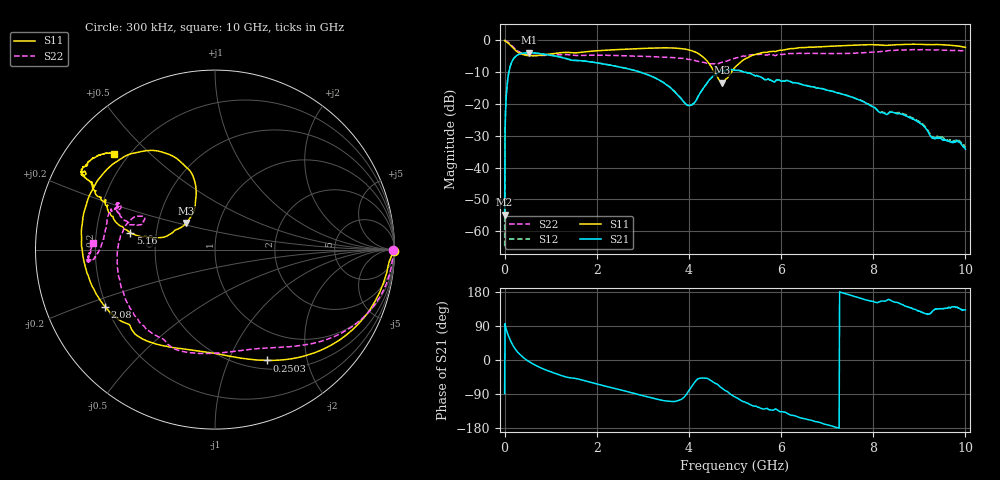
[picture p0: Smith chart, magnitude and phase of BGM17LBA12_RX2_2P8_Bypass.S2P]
!Agilent Technologies,E5071C,MY46316587,B.13.01
!Date: Fri Dec 08 10:55:44 2017
!Data & Calibration Information:
!Freq	S11:SOLT2(ON)	S21:SOLT2(ON)	S12:SOLT2(ON)	S22:SOLT2(ON)
!PortZ  Port1:50+j0  Port2:50+j0
!Above PortZ is port z conversion or system Z0 setting when saving the data.
!When reading, reference impedance value at option line is always used.
# Hz S dB R 50
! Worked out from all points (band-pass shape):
!   1001 points, 300 kHz to 10 GHz, reference 50 ohm
!   highest |S21| = -3.91 dB at 530.3 MHz (marker M1); lowest = -54.8 dB at 300 kHz (marker M2)
!   |S21| within 3 dB of the highest: 153 MHz to 1.93 GHz (1.777 GHz wide, 171 % of centre)
!   lowest |S11| = -13.3 dB at 4.72 GHz (marker M3), VSWR 1.55, Z = 34.9 + j10.8 ohm
!   |S11| at or under -10 dB: 4.553 GHz to 4.922 GHz (368.9 MHz wide, 7.79 % of centre)
!   |S22| runs from -7.4 to -0.1 dB; largest |S21 - S12| = 0.0037
!   S11 on the Smith chart (normalised r, x): 300 kHz: open; 250.3 MHz: 0.60, -1.39; 2.08 GHz: 0.19, -0.23; 5.16 GHz: 0.35, +0.09; 10 GHz: 0.15, +0.39
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300000  -0.04 -0.4  -54.81 -88.8  -64.72 135.7  -0.05 -0.3
6.02982e7  -0.67 -21.2  -13.28 71.6  -13.20 71.7  -0.40 -16.1
7.02979e7  -0.79 -24.4  -12.05 68.1  -12.00 68.2  -0.50 -18.6
1.402958e8  -1.80 -43.7  -7.38 47.8  -7.34 47.6  -1.46 -33.3
2.502925e8  -3.32 -64.9  -4.93 25.8  -4.90 25.6  -2.94 -48.7
5.302841e8  -4.82 -93.8  -3.91 -4.3  -3.90 -4.5  -4.61 -71.4
1.040269e9  -4.21 -120.7  -4.78 -33.0  -4.75 -33.2  -4.65 -98.9
1.67025e9  -3.76 -141.2  -6.42 -52.5  -6.37 -52.5  -4.75 -121.7
2.080238e9  -3.22 -152.7  -7.27 -65.8  -7.23 -65.5  -4.70 -133.1
3.3402e9  -2.39 163.6  -12.37 -104.4  -12.36 -104.0  -5.22 -173.6
4.020179e9  -3.10 129.7  -20.47 -77.2  -20.36 -77.4  -6.04 161.1
4.450166e9  -7.56 106.6  -12.33 -52.2  -12.33 -52.1  -7.39 156.7
4.720158e9  -13.27 137.1  -9.57 -74.7  -9.58 -74.6  -6.92 162.4
5.00015e9  -8.47 169.4  -9.40 -97.5  -9.37 -97.3  -5.64 162.2
5.160145e9  -6.37 168.8  -9.78 -108.8  -9.74 -108.7  -4.97 160.0
5.570133e9  -3.94 159.8  -11.64 -128.0  -11.59 -128.3  -4.36 155.3
6.6701e9  -2.18 151.4  -14.60 -159.3  -14.51 -159.2  -4.09 162.4
8.34005e9  -1.55 150.3  -22.89 159.7  -22.70 159.5  -3.22 -175.5
8.740038e9  -1.27 150.0  -23.93 140.7  -23.59 140.0  -2.99 -174.5
9.290021e9  -1.37 146.4  -30.77 129.4  -30.22 128.1  -3.01 -175.8
9.850004e9  -1.84 138.5  -32.00 138.1  -31.52 137.9  -3.22 179.4
1e10  -2.21 136.5  -34.23 132.3  -33.77 132.9  -3.33 176.9
